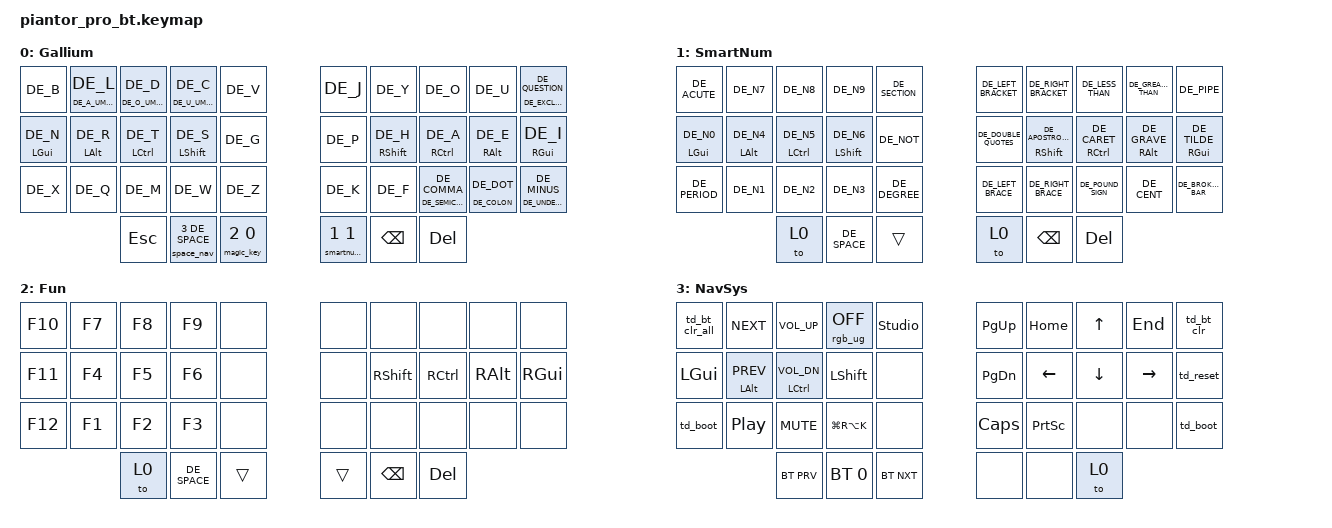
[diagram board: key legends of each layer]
/*
* Copyright (c) 2020 The ZMK Contributors
*
* SPDX-License-Identifier: MIT
*
* Gallium v1 layout (customized) with home row mods
* Layer order: default (0), num_sym (1), smartnum (2), fn (3), nav_sys (4)
*
* Gallium (Layer 0): Default layer with home row mods
*   - Customizations: X↔Q swapped, / replaced with ; (standard Gallium has / on bottom row)
*   - Home row mods: N=Super, R=Alt, T=Ctrl, S=Shift (left); H=Shift, A=Ctrl, E=Alt, I=Super (right)
*   - Thumbs: Escape | Space/Nav | Magic Shift | NumSym (tap=sticky num_sym, shift+tap=sticky fn, hold=momentary num_sym) | Backspace | Delete
*   - Magic Shift (urob): tap after letter=repeat, tap otherwise=sticky shift, double-tap=caps word, hold=shift
*   - Combos (all 50ms timeout):
*     - Tab/Return: S+T = Tab, N+E = Return
*     - Edit: W+R = Copy (Shift+Copy = Cut), T+G = Undo (Shift+Undo = Redo)
*            P+T = Paste
*     - Mouse: M+N = Left Click (Shift+M+N = Right Click)
*     - Mouse/Scroll: R+X = Mouse Left, T+D = Mouse Right, P+B = Scroll Left, J+L = Scroll Right
*     - Navigation: vertical combos for arrows, page up/down, home/end
*     - Symbols: vertical combos for #, ^, &
*
* NumSym (Layer 1): Number & Symbol layer
*   - Top row: <987[]+-_>
*   - Home row: 0654()* /`% with home row mods (0=Alt, 6=Shift, 5=Ctrl, 4=Super, *=Super, /=Ctrl, `=Shift, %=Alt)
*   - Bottom row: ^321{}=@#$
*   - Thumbs: & ~ blsh | Smartnum | StickyFn | pipe
*   - Activated by 4th thumb key: tap for sticky layer, shift+tap for sticky fn layer, hold for momentary access
*
* SmartNum (Layer 2): Number layer (urob's auto-layer)
*   - Left side: Numbers in unusual layout 987/0654/321 with home row mods
*   - Right side: NumSym symbols (]+-_>, ) * /`%, }=,.$ )
*   - Auto-exits when non-number keys are pressed (urob's smartnum feature)
*   - Thumbs: Delete | Backspace | Magic Shift | Exit | Space | Exit
*   - Activated from NumSym layer via 4th thumb key
*
* Fn Layer (Layer 3): Function keys and keyboard layer activation
*   - Left side: F-keys (F10-F7, F11/F6-F4, F12/F3-F1) in reverse order
*   - Right side: Same as default layer (J/L/U/Y/', M/mods, K/H/,/./) with explicit home row mods
*   - Thumbs: Exit | Space | Shift (on left); NumSym | Bspc | Del (on right)
*   - Activated by sticky layer from NumSym layer, or shift+tap on default layer NumSym thumb key
*
* Nav/Sys (Layer 4): Navigation and system control layer
*   - Left side: Media controls, BT/RGB controls with home row mods
*   - Right side: Navigation keys (arrows, Home/End, Page Up/Down)
*   - Thumbs: BT profile switching
*   - Activated by holding Space
*/

#include <behaviors.dtsi>
#include <dt-bindings/zmk/keys.h>
#include <dt-bindings/zmk/bt.h>
#include <dt-bindings/zmk/rgb.h>
#include <dt-bindings/zmk/outputs.h>
#define ZMK_POINTING_DEFAULT_SCRL_VAL 20
#include <dt-bindings/zmk/pointing.h>
#include <behaviors/num_word.dtsi>
#include "keys_de_swiss.h"

// urob's helper macros for ZMK behaviors
#include "zmk-helpers/helper.h"

&num_word {
continue-list = <BSPC DEL DOT PLUS MINUS ASTRK FSLH EQUAL SPACE>;
};

&sl {
release-after-ms = <5000>;
ignore-modifiers;
};

&sk {
release-after-ms = <5000>;
quick-release;
};

&mt {
tapping-term-ms = <280>;
quick-tap-ms = <175>;
require-prior-idle-ms = <150>;
flavor = "balanced";
hold-trigger-on-release;
};

/ {
chosen {
zmk,physical-layout = &five_col_layout;
};
};

/ {
behaviors {
#include "piantor_pro_bt_behaviors.dtsi"
};

#include "piantor_pro_bt_combos.dtsi"

keymap {
compatible = "zmk,keymap";

default_layer {
display-name = "Gallium";
// Gallium v1 (customized: X↔Q, /→;) with home row mods
// ----------------------------------------------------------------------
// |  B  |  L  |  D  |  C  |  V  |   |  J  |  Y  |  O  |  U  |  ?  |
// |  N  |  R  |  T  |  S  |  G  |   |  P  |  H  |  A  |  E  |  I  |
// |  X  |  Q  |  M  |  W  |  Z  |   |  K  |  F  |  ,  |  .  |  -  |
//  | Escape | Space/Nav | Shift |   | NumSym | Backspace | Delete |
//             | Escape | Space/Nav | Shift |   | NumSym | Backspace | Delete |
// Home row mods: N=Super, R=Alt, T=Ctrl, S=Shift (left); H=Shift, A=Ctrl, E=Alt, I=Super (right)
bindings = <
&kp DE_B                &mt DE_A_UMLAUT DE_L        &mt DE_O_UMLAUT DE_D      &mt DE_U_UMLAUT DE_C      &kp DE_V          &kp DE_J          &kp DE_Y               &kp DE_O                 &kp DE_U             &mt DE_EXCLAMATION DE_QUESTION     
&hml LEFT_GUI DE_N      &hml LEFT_ALT DE_R          &hml LEFT_CONTROL DE_T    &hml LEFT_SHIFT DE_S      &kp DE_G          &kp DE_P          &hmr RIGHT_SHIFT DE_H  &hmr RIGHT_CONTROL DE_A  &hmr RIGHT_ALT DE_E  &hmr RIGHT_GUI DE_I      
&kp DE_X                &kp DE_Q                    &kp DE_M                  &kp DE_W                  &kp DE_Z          &kp DE_K          &kp DE_F               &mt DE_SEMICOLON DE_COMMA             &mt DE_COLON DE_DOT           &mt DE_UNDERSCORE DE_MINUS    
&kp ESCAPE                  &space_nav 3 DE_SPACE     &magic_key 2 0     &smartnum_tap 1 1   &kp BACKSPACE     &kp DEL          
>;
};

smartnum_layer {
display-name = "SmartNum";
// Smart number layer (matching Kanata layout with urob's auto-layer)
// urob's smartnum auto-exits on non-number keys
// Numbers on LEFT side: 987/0654/321, right side: num_sym symbols
// -------------------------------------------------------------------------
// |  ´  |  7  |  8  |  9  |  §  |   |  [  |  ]  |  <  |  >  |  |  |
// | 0+G | 4+A | 5+C | 6+S |  ¬  |   |  "  | '+S | ^+C | `+A | ~+G |
// |  .  |  1  |  2  |  3  |  °  |   |  {  |  }  |  £  |  ¢  |  ¦  |
//             | Exit | Space | Magic Shift |   | Exit | Bspc | Del |
// Exit = return to layer 0 (default layer)
// (< = ( normally, < when shifted; )> = ) normally, > when shifted
bindings = <
&kp DE_ACUTE             &kp DE_N7               &kp DE_N8                      &kp DE_N9                &kp DE_SECTION        &kp DE_LEFT_BRACKET                    &kp DE_RIGHT_BRACKET                   &kp DE_LESS_THAN               &kp DE_GREATER_THAN             &kp DE_PIPE
&hml LEFT_GUI DE_N0      &hml LEFT_ALT DE_N4     &hml LEFT_CONTROL DE_N5        &hml LEFT_SHIFT DE_N6    &kp DE_NOT            &kp DE_DOUBLE_QUOTES                   &hmr RIGHT_SHIFT DE_APOSTROPHE         &hmr RIGHT_CONTROL DE_CARET    &hmr RIGHT_ALT DE_GRAVE         &hmr RIGHT_GUI DE_TILDE 
&kp DE_PERIOD            &kp DE_N1               &kp DE_N2                      &kp DE_N3                &kp DE_DEGREE         &kp DE_LEFT_BRACE                      &kp DE_RIGHT_BRACE                     &kp DE_POUND_SIGN              &kp DE_CENT                     &kp DE_BROKEN_BAR
&to 0                          &kp DE_SPACE             &trans   &to 0                                  &kp BACKSPACE                   &kp DEL
>;
};

fn_layer {
display-name = "Fun";
// Function keys (matching Gallium layout on right side)
// Left: F-keys in REVERSE order, Right: same as default layer with home row mods
// -------------------------------------------------------------------------
// | F10 | F7  | F8  | F9  |     |   |     |     |     |     |     |
// | F11 | F4  | F5  | F6  |     |   |     | RSft| RCtl| RAlt| RGui|
// | F12 | F1  | F2  | F3  |     |   |     |     |     |     |     |
//             | Exit | Space | Shift |   | NumSym | Bspc | Del |
bindings = <
&kp F10     &kp F7      &kp F8      &kp F9          &none                   &none              &none               &none                    &none            &none
&kp F11     &kp F4      &kp F5      &kp F6          &none                   &none              &kp RIGHT_SHIFT     &kp RIGHT_CONTROL        &kp RIGHT_ALT    &kp RIGHT_GUI
&kp F12     &kp F1      &kp F2      &kp F3          &none                   &none              &none               &none                    &none            &none
&to 0       &kp DE_SPACE    &trans   &trans    &kp BACKSPACE       &kp DEL
>;
};


nav_sys_layer {
display-name = "NavSys";
// Navigation & System layer (Space hold)
// Left: Media/System/BT/RGB controls, Right: Navigation + BT/System
// -------------------------------------------------------------------------
// | BTClrAll** | Next | VolUp | RGBof | stdunlok |   | PgUp | Home | Up   | End  | BTClr**  |
// | Reset**/Gui| Prev | VolDn | BriDn |          |   | PgDn | Left | Down | Rght | Reset**  |
// | Boot**     | Play | Mute  | MicM  |          |   |      | PrSc |      |      | Boot**   |
//                         | BTPrv | BT0  | BTNxt |   |      |      | Exit |
// Home row: tap=action, hold=modifier (Reset/Alt, Prev/Shift, VolDn/Ctrl, BriDn/Super)
// ** = requires double-tap to trigger (single tap does nothing)
bindings = <
&td_bt_clr_all     &kp C_NEXT                   &kp C_VOL_UP                   &rgb_ug RGB_OFF                    &studio_unlock    &kp PG_UP     &kp HOME      &kp UP          &kp END        &td_bt_clr
&kp LEFT_GUI   &hml LEFT_ALT C_PREV      &hml LEFT_CONTROL C_VOL_DN    &kp LEFT_SHIFT      &none             &kp PG_DN     &kp LEFT      &kp DOWN        &kp RIGHT      &td_reset
&td_boot           &kp C_PP                  &kp C_MUTE                    &kp LG(RA(K))       &none             &kp CAPSLOCK         &kp PSCRN     &none           &none          &td_boot
&bt BT_PRV  &bt BT_SEL 0  &bt BT_NXT    &none  &none  &to 0
>;
};


};
};
